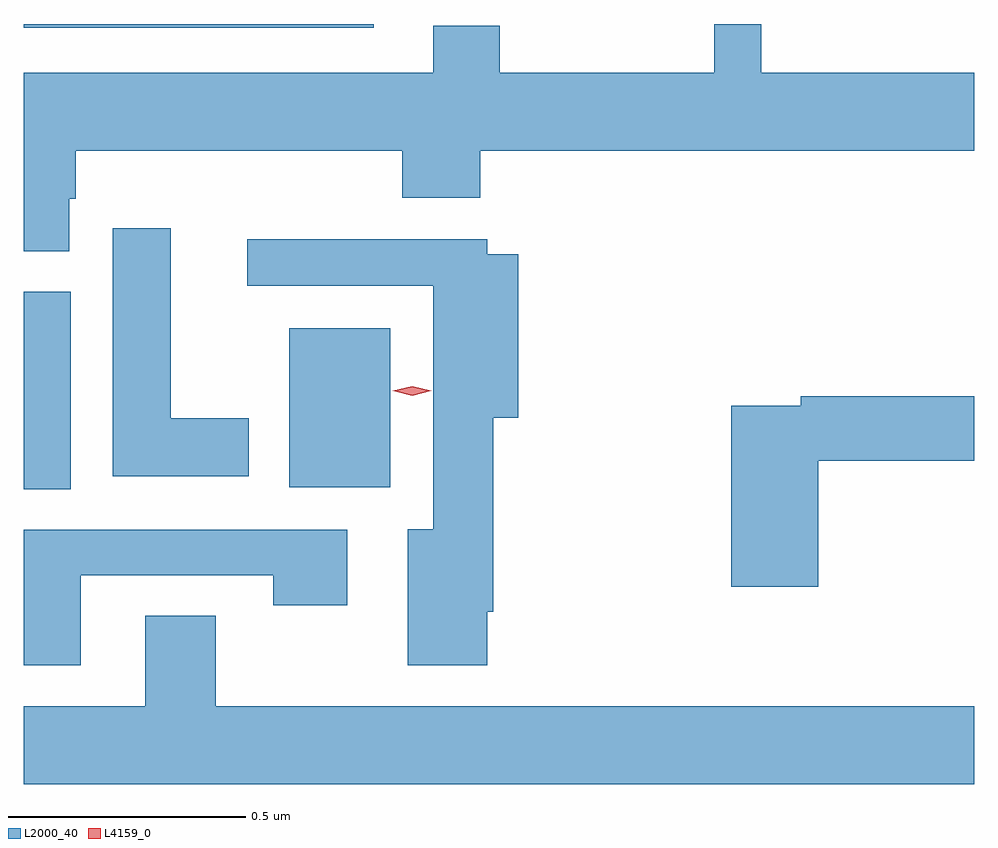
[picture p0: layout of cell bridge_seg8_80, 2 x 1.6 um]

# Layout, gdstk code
import gdstk
lib = gdstk.Library(unit=1e-6, precision=1e-09)
def R(c, l, rs):  # rectangles x0, y0, x1, y1
    for r in rs: c.add(gdstk.rectangle(r[:2], r[2:], *l))
def P(c, l, *ps):  # polygons
    for p in ps: c.add(gdstk.Polygon(p, *l))
L2000_40 = (2000, 40)
L4159_0 = (4159, 0)

bridge_seg8_80 = lib.new_cell('bridge_seg8_80')
R(bridge_seg8_80, L2000_40, [(853.597,1115.788,853.696,1116.204), (854.156,1115.792,854.368,1116.127), (853.597,1116.759,854.334,1116.767)])
P(bridge_seg8_80, L2000_40, [(853.693,1116.399),(853.706,1116.399),(853.706,1116.5),(854.393,1116.5),(854.393,1116.401),(854.558,1116.401),(854.558,1116.5),(855.597,1116.5),(855.597,1116.664),(855.149,1116.664),(855.149,1116.767),(855.05,1116.767),(855.05,1116.664),(854.599,1116.664),(854.599,1116.763),(854.459,1116.763),(854.459,1116.664),(853.597,1116.664),(853.597,1116.289),(853.693,1116.289)],
  [(854.071,1115.938),(853.906,1115.938),(853.906,1116.337),(853.784,1116.337),(853.784,1115.816),(854.071,1115.816)],
  [(854.572,1115.53),(854.585,1115.53),(854.585,1115.939),(854.638,1115.939),(854.638,1116.283),(854.572,1116.283),(854.572,1116.314),(854.067,1116.314),(854.067,1116.216),(854.459,1116.216),(854.459,1115.704),(854.405,1115.704),(854.405,1115.418),(854.572,1115.418)],
  [(855.269,1115.848),(855.597,1115.848),(855.597,1115.984),(855.232,1115.984),(855.232,1115.964),(855.086,1115.964),(855.086,1115.583),(855.269,1115.583)],
  [(853.717,1115.607),(854.122,1115.607),(854.122,1115.544),(854.278,1115.544),(854.278,1115.703),(853.597,1115.703),(853.597,1115.418),(853.717,1115.418)],
  [(855.597,1115.332),(854.001,1115.332),(854.001,1115.522),(853.853,1115.522),(853.853,1115.332),(853.597,1115.332),(853.597,1115.168),(855.597,1115.168)])
P(bridge_seg8_80, L4159_0, [(854.414,1115.985),(854.373,1115.995),(854.373,1115.995),(854.373,1115.995),(854.414,1116.005),(854.454,1115.995),(854.454,1115.995),(854.454,1115.995)])

lib.write_gds('bridge_seg8_80.gds')
